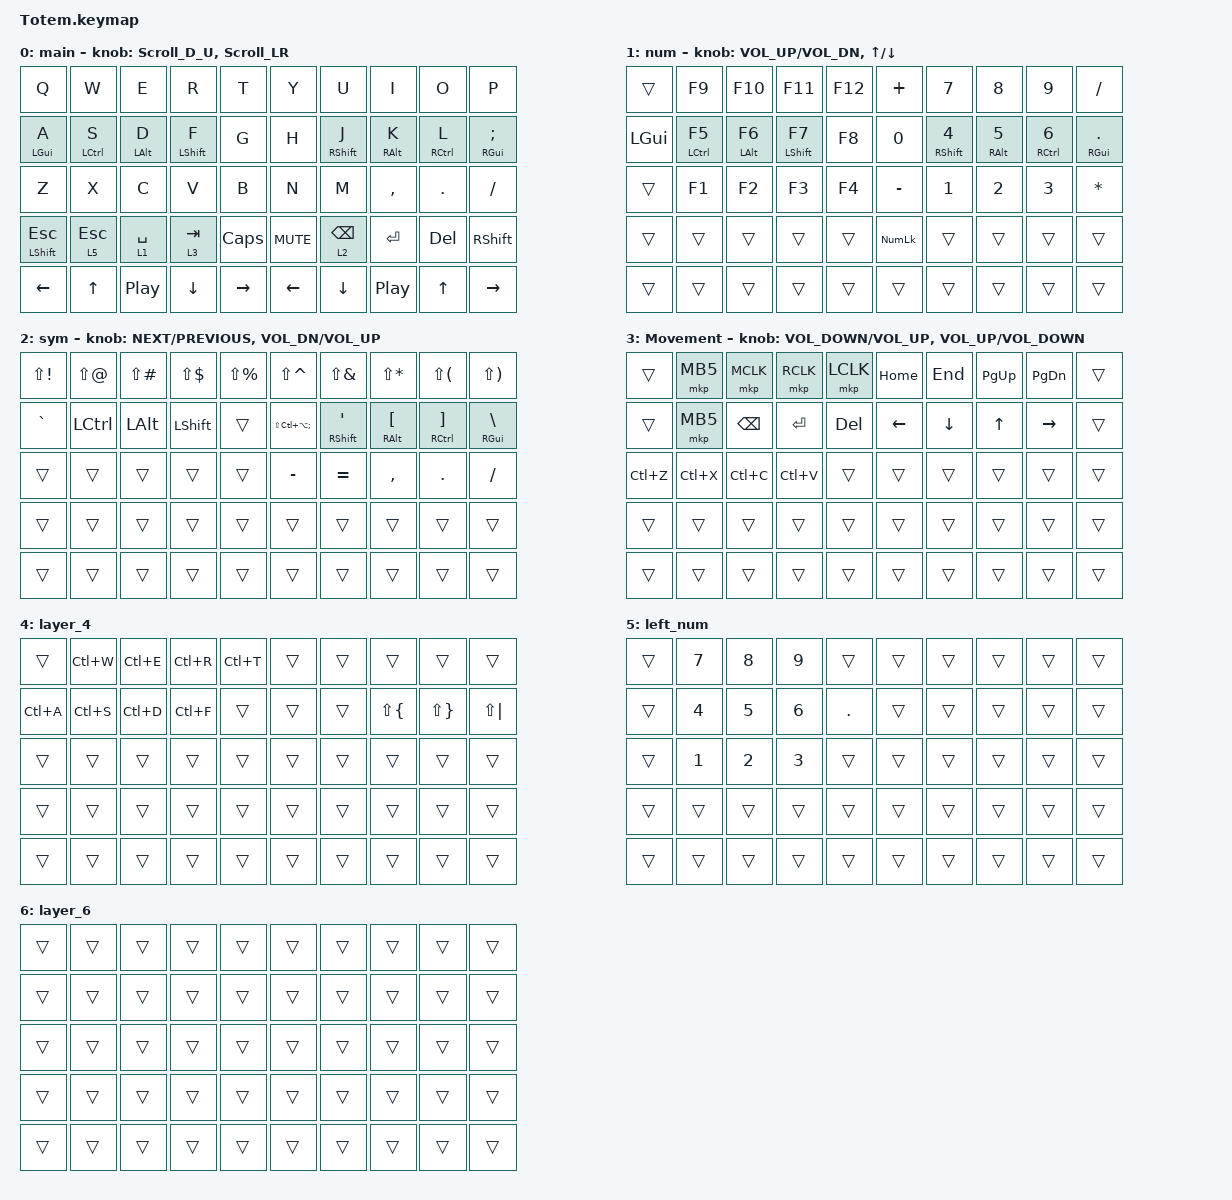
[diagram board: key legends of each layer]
/*
 * Copyright (c) 2020 The ZMK Contributors
 *
 * SPDX-License-Identifier: MIT
 */

#include <input/processors.dtsi>
#include <zephyr/dt-bindings/input/input-event-codes.h>
#include <dt-bindings/zmk/mouse.h>
#include <behaviors/mouse_keys.dtsi>
#include <behaviors.dtsi>
#include <dt-bindings/zmk/keys.h>
#include <dt-bindings/zmk/pointing.h>

#define ZMK_POINTING_DEFAULT_MOVE_VAL 1200  // 600
#define ZMK_POINTING_DEFAULT_SCRL_VAL 900   // mousescroll SPEED

&mmv_input_listener { input-processors = <&zip_xy_scaler 2 1>; };

&msc_input_listener { input-processors = <&zip_scroll_scaler 2 1>; };

&msc {
    acceleration-exponent = <1>;      // 0
    time-to-max-speed-ms = <100>;       // 300
    delay-ms = <0>;                   // 0
};

&mmv {
    time-to-max-speed-ms = <500>;
    acceleration-exponent = <1>;
    trigger-period-ms = <16>;
};

&soft_off {
    hold-time-ms = <3000>; // Only turn off it the key is held for 3 seconds or longer.
};

&mt {
    tapping-term-ms = <300>;
    flavor = "tap-preferred";
};

&lt { tapping-term-ms = <300>; };

/ {
    behaviors {
        Scroll_D_U: Scroll_D_U {
            compatible = "zmk,behavior-sensor-rotate";
            label = "SCROLL_D_U";
            #sensor-binding-cells = <0>;
            bindings = <&msc SCRL_DOWN>, <&msc SCRL_UP>;

            tap-ms = <20>;
        };

        TD01: TD01 {
            compatible = "zmk,behavior-tap-dance";
            label = "TD01";
            #binding-cells = <0>;
            bindings = <&kp MINUS>, <&kp PERIOD>;
        };

        Scroll_U_D: Scroll_U_D {
            compatible = "zmk,behavior-sensor-rotate";
            label = "SCROLL_U_D";
            #sensor-binding-cells = <0>;
            bindings = <&msc SCRL_UP>, <&msc SCRL_DOWN>;

            tap-ms = <20>;
        };

        Scroll_LR: Scroll_LR {
            compatible = "zmk,behavior-sensor-rotate";
            label = "SCROLL_LR";
            #sensor-binding-cells = <0>;
            bindings = <&msc SCRL_LEFT>, <&msc SCRL_RIGHT>;

            tap-ms = <20>;
        };

        Scroll_RL: Scroll_RL {
            compatible = "zmk,behavior-sensor-rotate";
            label = "SCROLL_RL";
            #sensor-binding-cells = <0>;
            bindings = <&msc SCRL_RIGHT>, <&msc SCRL_LEFT>;

            tap-ms = <20>;
        };
    };

    combos {
        compatible = "zmk,combos";

        boot {
            bindings = <&bootloader>;
            key-positions = <33 32 30>;
        };

        boot2 {
            bindings = <&bootloader>;
            key-positions = <36 37 39>;
        };
    };

    keymap {
        compatible = "zmk,keymap";

        Main_Layer {
            display-name = "main";
            bindings = <
&kp Q          &kp W               &kp E             &kp R        &kp T      &kp Y       &kp U        &kp I             &kp O        &kp P
&mt LGUI A     &mt LEFT_CONTROL S  &mt LALT D        &mt LSHFT F  &kp G      &kp H       &mt RSHFT J  &mt RALT K        &mt RCTRL L  &mt RGUI SEMI
&kp Z          &kp X               &kp C             &kp V        &kp B      &kp N       &kp M        &kp COMMA         &kp DOT      &kp FSLH
&mt LSHFT ESC  &lt 5 ESC           &lt 1 SPACE       &lt 3 TAB    &kp CAPS   &kp K_MUTE  &lt 2 BSPC   &kp ENTER         &kp DEL      &kp RSHFT
&kp LEFT       &kp UP              &kp C_PLAY_PAUSE  &kp DOWN     &kp RIGHT  &kp LEFT    &kp DOWN     &kp C_PLAY_PAUSE  &kp UP       &kp RIGHT
            >;

            sensor-bindings = <&Scroll_D_U>, <&Scroll_LR>;
        };

        Number {
            display-name = "num";
            bindings = <
&trans        &kp F9               &kp F10          &kp F11            &kp F12  &kp PLUS        &kp N7              &kp N8            &kp N9                &kp FSLH
&kp LEFT_GUI  &mt LEFT_CONTROL F5  &mt LEFT_ALT F6  &mt LEFT_SHIFT F7  &kp F8   &kp N0          &mt RIGHT_SHIFT N4  &mt RIGHT_ALT N5  &mt RIGHT_CONTROL N6  &mt RIGHT_GUI DOT
&trans        &kp F1               &kp F2           &kp F3             &kp F4   &kp MINUS       &kp N1              &kp N2            &kp N3                &kp STAR
&trans        &trans               &trans           &trans             &trans   &kp KP_NUMLOCK  &trans              &trans            &trans                &trans
&trans        &trans               &trans           &trans             &trans   &trans          &trans              &trans            &trans                &trans
            >;

            sensor-bindings =
                <&inc_dec_kp C_VOL_UP C_VOL_DN>,
                <&inc_dec_kp UP DOWN>;
        };

        Sym {
            display-name = "sym";
            bindings = <
&kp LS(EXCL)  &kp LS(AT)        &kp LS(POUND)  &kp LS(DLLR)  &kp LS(PRCNT)  &kp LS(CARET)         &kp LS(AMPS)         &kp LS(STAR)        &kp LS(LPAR)            &kp LS(RPAR)
&kp GRAVE     &kp LEFT_CONTROL  &kp LALT       &kp LSHFT     &trans         &kp LS(LC(LA(SEMI)))  &mt RIGHT_SHIFT SQT  &mt RIGHT_ALT LBKT  &mt RIGHT_CONTROL RBKT  &mt RIGHT_GUI BSLH
&trans        &trans            &trans         &trans        &trans         &kp MINUS             &kp EQUAL            &kp COMMA           &kp DOT                 &kp FSLH
&trans        &trans            &trans         &trans        &trans         &trans                &trans               &trans              &trans                  &trans
&trans        &trans            &trans         &trans        &trans         &trans                &trans               &trans              &trans                  &trans
            >;

            sensor-bindings =
                <&inc_dec_kp C_NEXT C_PREVIOUS>,
                <&inc_dec_kp C_VOL_DN C_VOL_UP>;
        };

        Movement {
            bindings = <
&trans     &mkp MB5   &mkp MCLK  &mkp RCLK  &mkp LCLK  &kp HOME  &kp END   &kp PG_UP  &kp PG_DN  &trans
&trans     &mkp MB5   &kp BSPC   &kp RET    &kp DEL    &kp LEFT  &kp DOWN  &kp UP     &kp RIGHT  &trans
&kp LC(Z)  &kp LC(X)  &kp LC(C)  &kp LC(V)  &trans     &trans    &trans    &trans     &trans     &trans
&trans     &trans     &trans     &trans     &trans     &trans    &trans    &trans     &trans     &trans
&trans     &trans     &trans     &trans     &trans     &trans    &trans    &trans     &trans     &trans
            >;

            sensor-bindings =
                <&inc_dec_kp C_VOLUME_DOWN C_VOLUME_UP>,
                <&inc_dec_kp C_VOLUME_UP C_VOLUME_DOWN>;
        };

        layer_4 {
            bindings = <
&trans     &kp LC(W)  &kp LC(E)  &kp LC(R)  &kp LC(T)  &trans  &trans  &trans        &trans        &trans
&kp LC(A)  &kp LC(S)  &kp LC(D)  &kp LC(F)  &trans     &trans  &trans  &kp LS(LBRC)  &kp LS(RBRC)  &kp LS(PIPE)
&trans     &trans     &trans     &trans     &trans     &trans  &trans  &trans        &trans        &trans
&trans     &trans     &trans     &trans     &trans     &trans  &trans  &trans        &trans        &trans
&trans     &trans     &trans     &trans     &trans     &trans  &trans  &trans        &trans        &trans
            >;
        };

        left_num {
            bindings = <
&trans  &kp N7  &kp N8  &kp N9  &trans   &trans  &trans  &trans  &trans  &trans
&trans  &kp N4  &kp N5  &kp N6  &kp DOT  &trans  &trans  &trans  &trans  &trans
&trans  &kp N1  &kp N2  &kp N3  &trans   &trans  &trans  &trans  &trans  &trans
&trans  &trans  &trans  &trans  &trans   &trans  &trans  &trans  &trans  &trans
&trans  &trans  &trans  &trans  &trans   &trans  &trans  &trans  &trans  &trans
            >;
        };

        layer_6 {
            bindings = <
&trans  &trans  &trans  &trans  &trans  &trans  &trans  &trans  &trans  &trans
&trans  &trans  &trans  &trans  &trans  &trans  &trans  &trans  &trans  &trans
&trans  &trans  &trans  &trans  &trans  &trans  &trans  &trans  &trans  &trans
&trans  &trans  &trans  &trans  &trans  &trans  &trans  &trans  &trans  &trans
&trans  &trans  &trans  &trans  &trans  &trans  &trans  &trans  &trans  &trans
            >;
        };
    };
};
